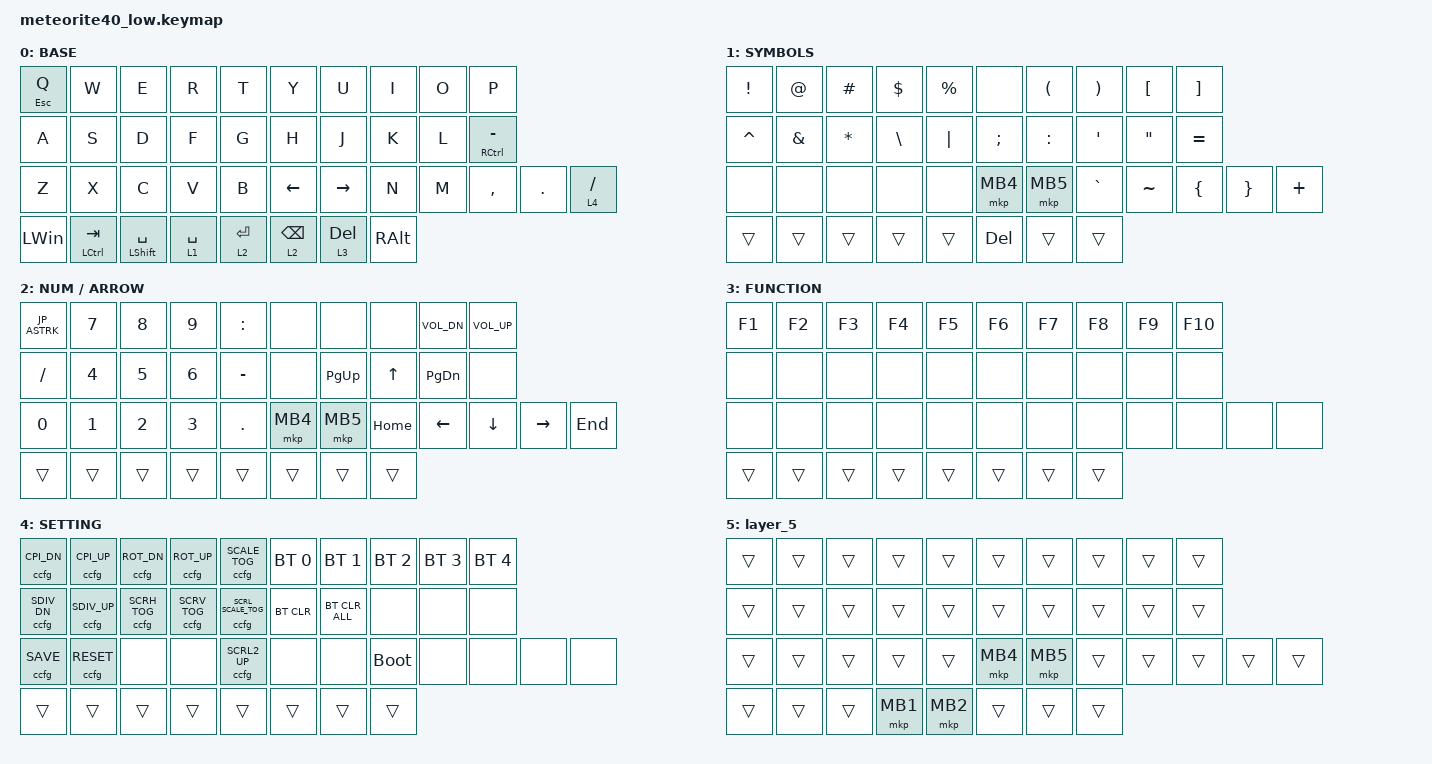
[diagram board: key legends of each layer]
#include <behaviors/custom_config.dtsi>
#include <behaviors/meteorite_custom_key.dtsi>
#include <behaviors/meteorite_bt_os.dtsi>
#include <behaviors/meteorite_mod_key.dtsi>
#include <behaviors/meteorite_os_key.dtsi>
#include <dt-bindings/zmk/custom_config.h>
#include <dt-bindings/zmk/meteorite_custom_keys.h>
#include <dt-bindings/zmk/meteorite_bt_os.h>
#include <input/processors.dtsi>
#include <behaviors.dtsi>
#include <dt-bindings/zmk/bt.h>
#include <dt-bindings/zmk/keys.h>
#include <dt-bindings/zmk/pointing.h>

&mkp_input_listener { input-processors = <&zip_temp_layer 5 250>; };

// OS設定を日本語キーボードのまま使用するための変換定義

#define JP_DQUOTE       AT                // "
#define JP_AMPERSAND    CARET             // &
#define JP_QUOTE        AMPERSAND         // '
#define JP_EQUAL        UNDER             // =
#define JP_CARET        EQUAL             // ^
#define JP_YEN          0x89              // ¥
#define JP_PLUS         COLON             // +
#define JP_TILDE        PLUS              // ~
#define JP_PIPE         LS(0x89)          // |
#define JP_AT           LEFT_BRACKET      // @
#define JP_COLON        SINGLE_QUOTE      // :
#define JP_ASTERISK     DOUBLE_QUOTES     // *
#define JP_BACKQUOTE    LEFT_BRACE        // `
#define JP_UNDERSCORE   LS(0x87)          // _
#define JP_LBRACKET     RIGHT_BRACKET     // [
#define JP_RBRACKET     BACKSLASH         // ]
#define JP_LPAREN       ASTERISK          // (
#define JP_RPAREN       LEFT_PARENTHESIS  // )
#define JP_LBRACE       RIGHT_BRACE       // {
#define JP_RBRACE       PIPE              // }
#define JP_KANA         LANGUAGE_1        // かな
#define JP_EISU         LANGUAGE_2        // 英数
#define JP_HANZEN       GRAVE             // 半角/全角

&mt {
    flavor = "tap-preferred"; // change hold to tap
    tapping-term-ms = <200>;
    quick-tap-ms = <150>; // change 200 to 150
};

&lt {
    flavor = "tap-preferred";
    tapping-term-ms = <150>; // change 200 to 150
    quick-tap-ms = <150>; // change 200 to 150
};

/ {
    behaviors {
        mck_mt: mck_mt {
            compatible = "zmk,behavior-hold-tap";
            #binding-cells = <2>;
            flavor = "tap-preferred";
            tapping-term-ms = <150>;
            bindings = <&mck>, <&kp>;

            display-name = "meteorite OS-Switch-mod-tap";
        };

        mck_mt_st: mck_mt_st {
            compatible = "zmk,behavior-hold-tap";
            #binding-cells = <2>;
            flavor = "tap-preferred";
            tapping-term-ms = <150>;
            bindings = <&mck>, <&alt_cmd_tab>;

            display-name = "meteorite OS-Switch-mod-tap (smart toggle)";
        };

        alt_cmd_tab: alt_cmd_tab {
            compatible = "zmk,behavior-smart-toggle";
            #binding-cells = <0>;
            display-name = "meteorite Smart toggle (Alt/Cmd+Tab)";
            bindings = <&mck M_OS_ALT_CMD>, <&kp TAB>;

            position-bindings = <12 13>; /* D, F */
            position-binding-behaviors = <&kp LS(TAB)>, <&kp TAB>;
        };

        tapz: tapz {
            compatible = "zmk,behavior-tap-dance";
            label = "TAPZ";
            #binding-cells = <0>;
            bindings = <&mt LEFT_SHIFT Z>, <&kp LS(Z)>;
        };
    };

    combos {
        compatible = "zmk,combos";

        lang1 {
            bindings = <&kp LANG1>;
            key-positions = <12 13>; /* D + F */
            layers = <0>;
        };

        lang2 {
            bindings = <&kp LANG2>;
            key-positions = <16 17>; /* J + K */
            layers = <0>;
        };

        esc {
            bindings = <&kp ESCAPE>;
            key-positions = <20 21>; /* Z + X */
            layers = <0>;
        };

        tab {
            bindings = <&kp TAB>;
            key-positions = <0 1>; /* Q + W */
            layers = <0>;
        };

        line_home {
            bindings = <&mosk HOME LG(LEFT)>;
            key-positions = <16 17>; /* J + K (on layer 2) */
            layers = <2>;
        };

        line_end {
            bindings = <&mosk END LG(RIGHT)>;
            key-positions = <18 19>; /* L + - (on layer 2) */
            layers = <2>;
        };

        doc_home {
            bindings = <&mosk LC(HOME) LG(UP)>;
            key-positions = <16 18>; /* J + L (on layer 2) */
            layers = <2>;
        };

        doc_end {
            bindings = <&mosk LC(END) LG(DOWN)>;
            key-positions = <17 19>; /* K + - (on layer 2) */
            layers = <2>;
        };
    };

    keymap {
        compatible = "zmk,keymap";
        layout = &LOW_PROFILE_DEFAULT;

        win_default_layer {
            display-name = "BASE";
            bindings = <
&mt ESC Q  &kp W          &kp E             &kp R        &kp T        &kp Y           &kp U            &kp I     &kp O  &kp P
&kp A      &kp S          &kp D             &kp F        &kp G        &kp H           &kp J            &kp K     &kp L  &mt RCTRL MINUS
&kp Z      &kp X          &kp C             &kp V        &kp B        &kp LEFT_ARROW  &kp RIGHT_ARROW  &kp N     &kp M  &kp COMMA        &kp DOT  &lt 4 SLASH
&kp LWIN   &mt LCTRL TAB  &mt LSHIFT SPACE  &lt 1 SPACE  &lt 2 ENTER  &lt 2 BSPC      &lt 3 DEL        &kp RALT
            >;
        };

        layer_1 {
            display-name = "SYMBOLS";
            bindings = <
&kp EXCL   &kp AT    &kp HASH  &kp DLLR  &kp PRCNT  &none     &kp LPAR   &kp RPAR   &kp LBKT   &kp RBKT
&kp CARET  &kp AMPS  &kp STAR  &kp BSLH  &kp PIPE   &kp SEMI  &kp COLON  &kp SQT    &kp DQT    &kp EQUAL
&none      &none     &none     &none     &none      &mkp MB4  &mkp MB5   &kp GRAVE  &kp TILDE  &kp LBRC   &kp RBRC  &kp PLUS
&trans     &trans    &trans    &trans    &trans     &kp DEL   &trans     &trans
            >;
        };

        layer_2 {
            display-name = "NUM / ARROW";
            bindings = <
&kp JP_ASTRK  &kp N7  &kp N8  &kp N9  &kp JP_PLUS   &none     &none        &none     &kp C_VOL_DN    &kp C_VOL_UP
&kp SLASH  &kp N4  &kp N5  &kp N6  &kp MINUS  &none     &kp PAGE_UP  &kp UP    &kp PAGE_DOWN   &none
&kp N0     &kp N1  &kp N2  &kp N3  &kp DOT    &mkp MB4  &mkp MB5     &kp HOME  &kp LEFT_ARROW  &kp DOWN_ARROW  &kp RIGHT_ARROW  &kp END
&trans     &trans  &trans  &trans  &trans     &trans    &trans       &trans
            >;
        };

        layer_3 {
            display-name = "FUNCTION";
            bindings = <
&kp F1  &kp F2  &kp F3  &kp F4  &kp F5  &kp F6  &kp F7  &kp F8  &kp F9  &kp F10
&none   &none   &none   &none   &none   &none   &none   &none   &none   &none
&none   &none   &none   &none   &none   &none   &none   &none   &none   &none    &none  &none
&trans  &trans  &trans  &trans  &trans  &trans  &trans  &trans
            >;
        };

        layer_4 {
            display-name = "SETTING";
            bindings = <
&ccfg C_CPI_DN   &ccfg C_CPI_UP   &ccfg C_ROT_DN    &ccfg C_ROT_UP    &ccfg C_SCALE_TOG       &bt BT_SEL 0  &bt BT_SEL 1    &bt BT_SEL 2  &bt BT_SEL 3  &bt BT_SEL 4
&ccfg C_SDIV_DN  &ccfg C_SDIV_UP  &ccfg C_SCRH_TOG  &ccfg C_SCRV_TOG  &ccfg C_SCRL_SCALE_TOG  &bt BT_CLR    &bt BT_CLR_ALL  &none         &none         &none
&ccfg C_SAVE     &ccfg C_RESET    &none             &none             &ccfg C_SCRL2_UP        &none         &none           &bootloader   &none         &none         &none  &none
&trans           &trans           &trans            &trans            &trans                  &trans        &trans          &trans
            >;
        };

        layer_5 {
            bindings = <
&trans  &trans  &trans  &trans    &trans    &trans    &trans    &trans  &trans  &trans
&trans  &trans  &trans  &trans    &trans    &trans    &trans    &trans  &trans  &trans
&trans  &trans  &trans  &trans    &trans    &mkp MB4  &mkp MB5  &trans  &trans  &trans  &trans  &trans
&trans  &trans  &trans  &mkp MB1  &mkp MB2  &trans    &trans    &trans
            >;
        };
    };
};
